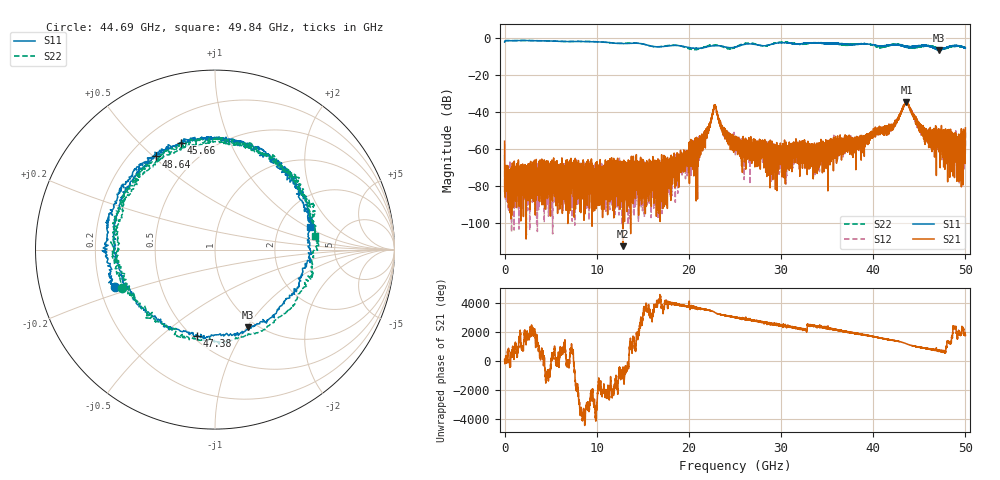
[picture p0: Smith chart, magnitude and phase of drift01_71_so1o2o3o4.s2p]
!Created with skrf (http://scikit-rf.org).
# Hz S RI R 50.0
!freq ReS11 ImS11 ReS21 ImS21 ReS12 ImS12 ReS22 ImS22
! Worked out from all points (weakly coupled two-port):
!   10001 points, 300 kHz to 50 GHz, reference 50 ohm
!   highest |S21| = -34.80 dB at 43.61 GHz (marker M1); lowest = -112.5 dB at 12.82 GHz (marker M2)
!   lowest |S11| = -6.6 dB at 47.14 GHz (marker M3), VSWR 2.77, Z = 45.4 - j50.5 ohm
!   |S11| at or under -10 dB: nowhere
!   |S22| runs from -6.4 to -1.4 dB; largest |S21 - S12| = 0.0045
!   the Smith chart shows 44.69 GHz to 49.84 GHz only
!   S11 on the Smith chart (normalised r, x): 44.69 GHz: 0.26, -0.17; 45.66 GHz: 0.35, +0.67; 47.38 GHz: 0.53, -0.67; 48.64 GHz: 0.31, +0.51; 49.84 GHz: 2.99, +1.06
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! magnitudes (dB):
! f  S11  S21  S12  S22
! 300 kHz  -2.1  -55.8  -63.2  -2.1
! 255.3 MHz  -1.4  -77.6  -85.1  -1.4
! 415.3 MHz  -1.4  -71.2  -84.0  -1.4
! 8.335 GHz  -1.9  -75.8  -72.6  -1.8
! 12.82 GHz  -3.1  -112.5  -72.5  -2.9
! 16.67 GHz  -4.8  -79.1  -77.1  -4.8
! 20.76 GHz  -5.6  -58.8  -58.3  -6.2
! 21.83 GHz  -5.0  -51.0  -51.8  -4.7
! 22.79 GHz  -4.3  -36.4  -36.6  -4.0
! 23.73 GHz  -4.6  -52.6  -52.1  -4.9
! 25 GHz  -5.0  -58.8  -53.8  -5.0
! 29.32 GHz  -3.0  -57.7  -61.5  -2.8
! 33.34 GHz  -2.6  -57.1  -68.7  -2.7
! 41.67 GHz  -3.9  -50.4  -49.5  -4.1
! 43.61 GHz  -4.8  -34.8  -35.0  -4.9
! 44.69 GHz  -4.6  -44.3  -45.2  -5.1
! 45.66 GHz  -4.1  -50.6  -49.2  -4.1
! 47.14 GHz  -6.6  -55.3  -51.4  -5.7
! 47.38 GHz  -6.2  -57.0  -50.5  -5.9
! 48.64 GHz  -4.3  -60.7  -53.8  -4.6
! 49.84 GHz  -5.3  -53.6  -58.6  -5.0
! 50 GHz  -5.5  -48.6  -59.3  -5.2
